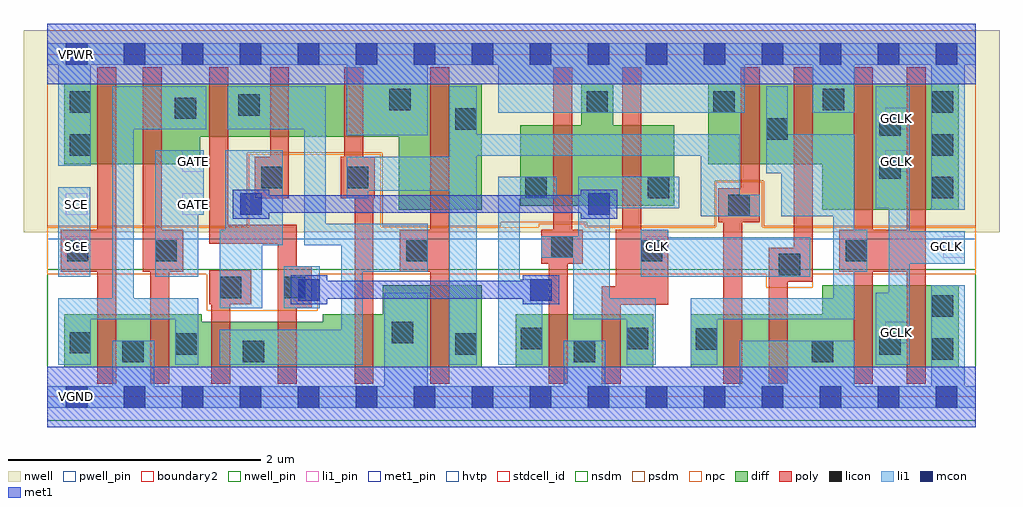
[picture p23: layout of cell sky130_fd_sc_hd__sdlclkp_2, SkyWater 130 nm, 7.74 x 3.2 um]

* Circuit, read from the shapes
.subckt sky130_fd_sc_hd__sdlclkp_2 CLK GATE GCLK SCE VGND VNB VPB VPWR
XM1 VGND SCE n1 VNB sky130_fd_pr__nfet_01v8 w=0.42 l=0.15
XM2 n1 GATE VGND VNB sky130_fd_pr__nfet_01v8 w=0.42 l=0.15
XM3 n2 n3 n1 VNB sky130_fd_pr__nfet_01v8 w=0.36 l=0.15
XM4 n4 n5 n2 VNB sky130_fd_pr__nfet_01v8 w=0.36 l=0.15
XM5 VGND n6 n4 VNB sky130_fd_pr__nfet_01v8 w=0.42 l=0.15
XM6 n6 n2 VGND VNB sky130_fd_pr__nfet_01v8 w=0.65 l=0.15
XM7 VGND n3 n5 VNB sky130_fd_pr__nfet_01v8 w=0.42 l=0.15
XM8 n3 CLK VGND VNB sky130_fd_pr__nfet_01v8 w=0.42 l=0.15
XM9 n7 n6 n8 VNB sky130_fd_pr__nfet_01v8 w=0.42 l=0.15
XM10 VGND CLK n7 VNB sky130_fd_pr__nfet_01v8 w=0.42 l=0.15
XM11 GCLK n8 VGND VNB sky130_fd_pr__nfet_01v8 w=0.65 l=0.15 m=2
XM12 n9 SCE VPWR VPB sky130_fd_pr__pfet_01v8_hvt w=0.64 l=0.15
XM13 n1 GATE n9 VPB sky130_fd_pr__pfet_01v8_hvt w=0.64 l=0.15
XM14 n2 n5 n1 VPB sky130_fd_pr__pfet_01v8_hvt w=0.42 l=0.15
XM15 n10 n3 n2 VPB sky130_fd_pr__pfet_01v8_hvt w=0.42 l=0.15
XM16 VPWR n6 n10 VPB sky130_fd_pr__pfet_01v8_hvt w=0.42 l=0.15
XM17 n6 n2 VPWR VPB sky130_fd_pr__pfet_01v8_hvt w=1 l=0.15
XM18 VPWR n3 n5 VPB sky130_fd_pr__pfet_01v8_hvt w=0.64 l=0.15
XM19 n3 CLK VPWR VPB sky130_fd_pr__pfet_01v8_hvt w=0.64 l=0.15
XM20 n8 n6 VPWR VPB sky130_fd_pr__pfet_01v8_hvt w=0.64 l=0.15
XM21 VPWR CLK n8 VPB sky130_fd_pr__pfet_01v8_hvt w=0.64 l=0.15
XM22 GCLK n8 VPWR VPB sky130_fd_pr__pfet_01v8_hvt w=1 l=0.15 m=2
.ends

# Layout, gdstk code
import gdstk
lib = gdstk.Library(unit=1e-6, precision=1e-09)
def R(c, l, rs):  # rectangles x0, y0, x1, y1
    for r in rs: c.add(gdstk.rectangle(r[:2], r[2:], *l))
def A(c, l, x, y, w, h, nx, ny, dx, dy):  # array of equal rectangles
    R(c, l, [(x+i*dx, y+j*dy, x+i*dx+w, y+j*dy+h) for i in range(nx) for j in range(ny)])
def P(c, l, *ps):  # polygons
    for p in ps: c.add(gdstk.Polygon(p, *l))
nwell_pin = (64, 16)
nwell = (64, 20)
diff = (65, 20)
poly = (66, 20)
licon = (66, 44)
li1_pin = (67, 16)
li1 = (67, 20)
mcon = (67, 44)
met1_pin = (68, 16)
met1 = (68, 20)
hvtp = (78, 44)
stdcell_id = (81, 4)
nsdm = (93, 44)
psdm = (94, 20)
npc = (95, 20)
pwell_pin = (122, 16)
boundary2 = (236, 0)

sky130_fd_sc_hd__sdlclkp = lib.new_cell('sky130_fd_sc_hd__sdlclkp_2')
R(sky130_fd_sc_hd__sdlclkp, nwell_pin, [(0.15,2.635,0.32,2.805)])
R(sky130_fd_sc_hd__sdlclkp, nwell, [(-0.19,1.305,7.55,2.91)])
R(sky130_fd_sc_hd__sdlclkp, diff, [(3.715,0.235,4.805,0.655)])
P(sky130_fd_sc_hd__sdlclkp, diff, [(7.225,0.885),(6.145,0.885),(6.145,0.655),(5.1,0.655),(5.1,0.235),(7.225,0.235)],
  [(4.97,2.155),(4.485,2.155),(4.485,2.485),(4.235,2.485),(4.235,2.155),(3.75,2.155),(3.75,1.515),(4.97,1.515)],
  [(7.225,2.485),(5.24,2.485),(5.24,1.845),(6.145,1.845),(6.145,1.485),(7.225,1.485)],
  [(3.445,0.885),(2.66,0.885),(2.66,0.655),(2.185,0.655),(2.185,0.595),(1.225,0.595),(1.225,0.655),(0.135,0.655),(0.135,0.235),(3.445,0.235)],
  [(3.445,2.485),(0.135,2.485),(0.135,1.845),(1.21,1.845),(1.21,2.065),(2.785,2.065),(2.785,1.485),(3.445,1.485)])
P(sky130_fd_sc_hd__sdlclkp, poly, [(2.095,1.035),(1.975,1.035),(1.975,1.365),(1.435,1.365),(1.435,2.615),(1.285,2.615),(1.285,1.215),(1.825,1.215),(1.825,0.105),(1.975,0.105),(1.975,0.705),(2.095,0.705)],
  [(1.915,2.615),(1.765,2.615),(1.765,1.905),(1.645,1.905),(1.645,1.575),(1.915,1.575)],
  [(1.615,1.005),(1.285,1.005),(1.285,0.735),(1.3,0.735),(1.3,0.105),(1.45,0.105),(1.45,0.735),(1.615,0.735)],
  [(1.075,1.325),(0.905,1.325),(0.905,2.615),(0.755,2.615),(0.755,0.995),(0.815,0.995),(0.815,0.105),(0.965,0.105),(0.965,0.995),(1.075,0.995)],
  [(6.07,2.615),(5.92,2.615),(5.92,1.185),(5.72,1.185),(5.72,0.105),(5.87,0.105),(5.87,0.915),(6.07,0.915)],
  [(3.185,2.615),(3.035,2.615),(3.035,1.325),(2.795,1.325),(2.795,0.995),(3.035,0.995),(3.035,0.105),(3.185,0.105)],
  [(4.245,1.325),(4.16,1.325),(4.16,2.615),(4.01,2.615),(4.01,1.325),(3.915,1.325),(3.915,1.055),(3.975,1.055),(3.975,0.105),(4.125,0.105),(4.125,1.055),(4.245,1.055)],
  [(2.595,1.905),(2.505,1.905),(2.505,2.615),(2.355,2.615),(2.355,1.905),(2.325,1.905),(2.325,1.575),(2.435,1.575),(2.435,0.105),(2.585,0.105),(2.585,1.575),(2.595,1.575)],
  [(0.545,2.615),(0.395,2.615),(0.395,1.325),(0.105,1.325),(0.105,0.995),(0.395,0.995),(0.395,0.105),(0.545,0.105)],
  [(4.925,1.325),(4.71,1.325),(4.71,2.615),(4.56,2.615),(4.56,1.325),(4.505,1.325),(4.505,0.88),(4.395,0.88),(4.395,0.105),(4.545,0.105),(4.545,0.73),(4.925,0.73)],
  [(5.65,2.615),(5.5,2.615),(5.5,1.655),(5.32,1.655),(5.32,1.385),(5.36,1.385),(5.36,0.105),(5.51,0.105),(5.51,1.385),(5.65,1.385)],
  [(6.965,2.615),(6.815,2.615),(6.815,1.325),(6.545,1.325),(6.545,2.615),(6.395,2.615),(6.395,1.325),(6.28,1.325),(6.28,0.995),(6.395,0.995),(6.395,0.105),(6.545,0.105),(6.545,0.995),(6.815,0.995),(6.815,0.105),(6.965,0.105)])
A(sky130_fd_sc_hd__sdlclkp, licon, 7.015, 1.575, 0.17, 0.17, 1, 3, 0, 0.34)
R(sky130_fd_sc_hd__sdlclkp, licon, [(0.595,0.275,0.765,0.445), (1.55,0.275,1.72,0.445), (4.175,0.275,4.345,0.445), (6.06,0.275,6.23,0.445), (7.015,0.295,7.185,0.465), (1.015,0.335,1.185,0.505), (3.235,0.335,3.405,0.505), (6.595,0.335,6.765,0.505), (0.175,0.345,0.345,0.515), (5.14,0.375,5.31,0.545), (3.755,0.38,3.925,0.55), (4.595,0.38,4.765,0.55), (2.73,0.425,2.9,0.595), (7.015,0.635,7.185,0.805), (1.365,0.785,1.535,0.955), (1.875,0.785,2.045,0.955), (5.8,0.965,5.97,1.135), (0.155,1.075,0.325,1.245), (0.855,1.075,1.025,1.245), (2.845,1.075,3.015,1.245), (4.705,1.075,4.875,1.245), (6.33,1.075,6.5,1.245), (3.995,1.105,4.165,1.275), (5.4,1.435,5.57,1.605), (3.79,1.575,3.96,1.745), (4.76,1.575,4.93,1.745), (1.695,1.655,1.865,1.825), (2.375,1.655,2.545,1.825), (6.595,1.73,6.765,1.9), (0.175,1.915,0.345,2.085), (5.7,2.04,5.87,2.21), (6.595,2.07,6.765,2.24), (3.235,2.12,3.405,2.29), (1.01,2.205,1.18,2.375), (1.515,2.23,1.685,2.4), (0.175,2.255,0.345,2.425), (4.275,2.255,4.445,2.425), (5.28,2.255,5.45,2.425), (2.71,2.275,2.88,2.445), (6.15,2.275,6.32,2.445)])
R(sky130_fd_sc_hd__sdlclkp, li1_pin, [(6.645,0.425,6.815,0.595), (0.145,1.105,0.315,1.275), (4.75,1.105,4.92,1.275), (7.105,1.105,7.275,1.275), (0.145,1.445,0.315,1.615), (1.07,1.445,1.24,1.615), (1.07,1.785,1.24,1.955), (6.645,1.785,6.815,1.955), (6.645,2.125,6.815,2.295)])
R(sky130_fd_sc_hd__sdlclkp, li1, [(1.875,0.705,2.16,1.035), (0.085,0.955,0.34,1.665)])
P(sky130_fd_sc_hd__sdlclkp, li1, [(6.5,1.325),(6.4,1.325),(6.4,2.085),(5.87,2.085),(5.87,2.465),(5.7,2.465),(5.7,1.775),(5.82,1.775),(5.82,1.435),(6.23,1.435),(6.23,0.785),(5.1,0.785),(5.1,0.255),(5.31,0.255),(5.31,0.615),(6.4,0.615),(6.4,0.995),(6.5,0.995)],
  [(3.015,1.375),(2.205,1.375),(2.205,2.465),(1.43,2.465),(1.43,2.125),(2.035,2.125),(2.035,1.205),(2.33,1.205),(2.33,0.535),(1.365,0.535),(1.365,0.255),(2.5,0.255),(2.5,0.995),(3.015,0.995)],
  [(4.04,1.745),(3.575,1.745),(3.575,0.255),(3.925,0.255),(3.925,0.765),(4,0.765),(4,0.935),(3.745,0.935),(3.745,1.575),(4.04,1.575)],
  [(5.65,1.605),(5.49,1.605),(5.49,2.085),(3.405,2.085),(3.405,2.465),(3.185,2.465),(3.185,1.905),(2.375,1.905),(2.375,1.575),(2.545,1.575),(2.545,1.635),(3.185,1.635),(3.185,0.255),(3.405,0.255),(3.405,1.915),(5.18,1.915),(5.18,1.435),(5.65,1.435)],
  [(1.865,1.955),(1.41,1.955),(1.41,1.325),(1.365,1.325),(1.365,0.705),(1.705,0.705),(1.705,1.205),(1.865,1.205)],
  [(7.275,1.315),(6.84,1.315),(6.84,2.465),(6.57,2.465),(6.57,1.495),(6.67,1.495),(6.67,0.825),(6.57,0.825),(6.57,0.255),(6.84,0.255),(6.84,1.055),(7.275,1.055)],
  [(6.05,1.265),(4.925,1.265),(4.925,1.325),(4.705,1.325),(4.705,0.955),(6.05,0.955)],
  [(1.26,2.465),(0.515,2.465),(0.515,0.785),(0.085,0.785),(0.085,0.255),(0.345,0.255),(0.345,0.615),(1.015,0.615),(1.015,0.255),(1.195,0.255),(1.195,0.785),(0.685,0.785),(0.685,2.125),(1.26,2.125)],
  [(1.24,1.955),(0.855,1.955),(0.855,0.955),(1.195,0.955),(1.195,1.445),(1.24,1.445)],
  [(5.01,1.745),(4.21,1.745),(4.21,1.275),(3.915,1.275),(3.915,1.105),(4.17,1.105),(4.17,0.615),(4.595,0.615),(4.595,0.255),(4.825,0.255),(4.825,0.785),(4.46,0.785),(4.46,1.495),(5.01,1.495)],
  [(7.36,2.805),(0,2.805),(0,2.635),(0.085,2.635),(0.085,1.835),(0.345,1.835),(0.345,2.635),(2.375,2.635),(2.375,2.075),(3.015,2.075),(3.015,2.635),(3.575,2.635),(3.575,2.255),(5.53,2.255),(5.53,2.635),(6.07,2.635),(6.07,2.255),(6.4,2.255),(6.4,2.635),(7.01,2.635),(7.01,1.485),(7.275,1.485),(7.275,2.635),(7.36,2.635)],
  [(7.36,0.085),(7.275,0.085),(7.275,0.885),(7.01,0.885),(7.01,0.085),(6.4,0.085),(6.4,0.445),(5.49,0.445),(5.49,0.085),(4.425,0.085),(4.425,0.445),(4.095,0.445),(4.095,0.085),(3.015,0.085),(3.015,0.825),(2.67,0.825),(2.67,0.085),(0.845,0.085),(0.845,0.445),(0.515,0.445),(0.515,0.085),(0,0.085),(0,-0.085),(7.36,-0.085)])
A(sky130_fd_sc_hd__sdlclkp, mcon, 0.145, -0.085, 0.17, 0.17, 16, 2, 0.46, 2.72)
R(sky130_fd_sc_hd__sdlclkp, mcon, [(1.99,0.765,2.16,0.935), (3.83,0.765,4,0.935), (1.53,1.445,1.7,1.615), (4.29,1.445,4.46,1.615)])
R(sky130_fd_sc_hd__sdlclkp, met1_pin, [(0.15,-0.085,0.32,0.085), (0.15,2.635,0.32,2.805)])
P(sky130_fd_sc_hd__sdlclkp, met1, [(4.52,1.645),(4.23,1.645),(4.23,1.6),(1.76,1.6),(1.76,1.645),(1.47,1.645),(1.47,1.415),(1.76,1.415),(1.76,1.46),(4.23,1.46),(4.23,1.415),(4.52,1.415)],
  [(4.06,0.965),(3.77,0.965),(3.77,0.92),(2.22,0.92),(2.22,0.965),(1.93,0.965),(1.93,0.735),(2.22,0.735),(2.22,0.78),(3.77,0.78),(3.77,0.735),(4.06,0.735)])
R(sky130_fd_sc_hd__sdlclkp, hvtp, [(0,1.25,7.36,2.72)])
R(sky130_fd_sc_hd__sdlclkp, stdcell_id, [(0,0,7.36,2.72)])
R(sky130_fd_sc_hd__sdlclkp, nsdm, [(0,-0.19,7.36,1.015)])
P(sky130_fd_sc_hd__sdlclkp, psdm, [(7.36,2.91),(0,2.91),(0,1.355),(1.585,1.355),(1.585,1.935),(2.655,1.935),(2.655,1.355),(3.595,1.355),(3.595,1.385),(4.275,1.385),(4.275,1.355),(5.29,1.355),(5.29,1.715),(5.68,1.715),(5.68,1.355),(7.36,1.355)])
P(sky130_fd_sc_hd__sdlclkp, npc, [(7.36,1.345),(5.67,1.345),(5.67,1.705),(5.3,1.705),(5.3,1.345),(4.265,1.345),(4.265,1.375),(3.895,1.375),(3.895,1.345),(2.645,1.345),(2.645,1.925),(1.595,1.925),(1.595,1.345),(0,1.345),(0,0.975),(1.265,0.975),(1.265,0.685),(2.145,0.685),(2.145,0.975),(5.7,0.975),(5.7,0.865),(6.07,0.865),(6.07,0.975),(7.36,0.975)])
R(sky130_fd_sc_hd__sdlclkp, pwell_pin, [(0.15,-0.085,0.32,0.085)])
R(sky130_fd_sc_hd__sdlclkp, boundary2, [(0,0,7.36,2.72)])
sky130_fd_sc_hd__sdlclkp.add(gdstk.FlexPath([(0,2.72),(7.36,2.72)], 0.48, ends="flush", simple_path=True, layer=68, datatype=20))  # met1
sky130_fd_sc_hd__sdlclkp.add(gdstk.FlexPath([(0,0),(7.36,0)], 0.48, ends="flush", simple_path=True, layer=68, datatype=20))  # met1
sky130_fd_sc_hd__sdlclkp.add(gdstk.Label('SCE', (0.23,1.53), layer=67, texttype=5))
sky130_fd_sc_hd__sdlclkp.add(gdstk.Label('CLK', (4.835,1.19), layer=67, texttype=5))
sky130_fd_sc_hd__sdlclkp.add(gdstk.Label('GCLK', (6.73,2.21), layer=67, texttype=5))
sky130_fd_sc_hd__sdlclkp.add(gdstk.Label('GCLK', (6.73,1.87), layer=67, texttype=5))
sky130_fd_sc_hd__sdlclkp.add(gdstk.Label('GATE', (1.155,1.87), layer=67, texttype=5))
sky130_fd_sc_hd__sdlclkp.add(gdstk.Label('GCLK', (6.73,0.51), layer=67, texttype=5))
sky130_fd_sc_hd__sdlclkp.add(gdstk.Label('GATE', (1.155,1.53), layer=67, texttype=5))
sky130_fd_sc_hd__sdlclkp.add(gdstk.Label('SCE', (0.23,1.19), layer=67, texttype=5))
sky130_fd_sc_hd__sdlclkp.add(gdstk.Label('GCLK', (7.13,1.19), layer=67, texttype=5))
sky130_fd_sc_hd__sdlclkp.add(gdstk.Label('VGND', (0.23,0), layer=68, texttype=5))
sky130_fd_sc_hd__sdlclkp.add(gdstk.Label('VPWR', (0.23,2.72), layer=68, texttype=5))
sky130_fd_sc_hd__sdlclkp.add(gdstk.Label('VPB', (0.235,2.72), layer=64, texttype=5))
sky130_fd_sc_hd__sdlclkp.add(gdstk.Label('VNB', (0.235,0), layer=64, texttype=59))
sky130_fd_sc_hd__sdlclkp.add(gdstk.Label('sdlclkp_2', (0,0), layer=83, texttype=44))

lib.write_gds('sky130_fd_sc_hd__sdlclkp_2.gds')
